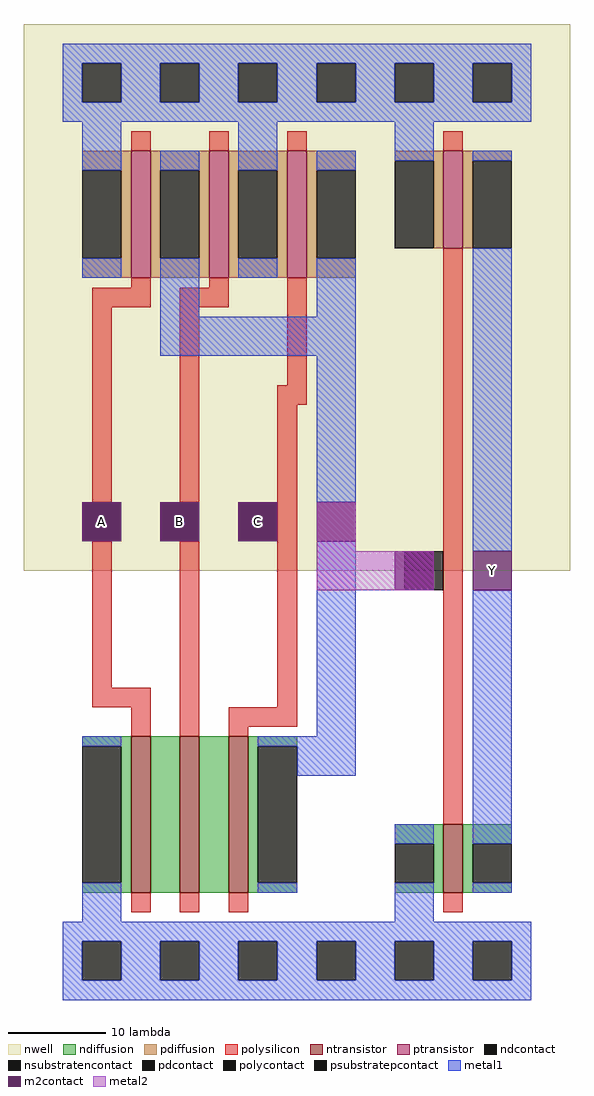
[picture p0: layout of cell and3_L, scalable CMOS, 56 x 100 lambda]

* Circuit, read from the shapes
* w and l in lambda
.subckt and3_L A B C Gnd! Vdd! Y
M1 n1 A Gnd! Gnd! nfet w=16 l=2
M2 n2 B n1 Gnd! nfet w=16 l=2
M3 nand3_L_0/Y C n2 Gnd! nfet w=16 l=2
M4 Y nand3_L_0/Y Gnd! Gnd! nfet w=7 l=2
M5 nand3_L_0/Y A Vdd! Vdd! pfet w=13 l=2
M6 Vdd! B nand3_L_0/Y Vdd! pfet w=13 l=2
M7 nand3_L_0/Y C Vdd! Vdd! pfet w=13 l=2
M8 Y nand3_L_0/Y Vdd! Vdd! pfet w=10 l=2
.ends

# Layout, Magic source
magic
tech scmos
<< metal1 >>
rect 44 0 45 2
<< m2contact >>
rect 6 47 10 51
rect 14 47 18 51
rect 22 47 26 51
rect 46 42 50 46
<< metal2 >>
rect 30 46 34 51
rect 30 42 42 46
use nand3_L  nand3_L_0
transform 1 0 6 0 1 4
box -6 -4 34 96
use inv_1x  inv_1x_0 /home/nessa
transform 1 0 38 0 1 4
box -6 -4 18 96
<< labels >>
rlabel m2contact 8 49 8 49 1 A
rlabel m2contact 16 49 16 49 1 B
rlabel m2contact 24 49 24 49 1 C
rlabel m2contact 48 44 48 44 1 Y
<< end >>

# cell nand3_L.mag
magic
tech scmos
<< nwell >>
rect -6 40 34 96
<< ntransistor >>
rect 5 7 7 23
rect 10 7 12 23
rect 15 7 17 23
<< ptransistor >>
rect 5 70 7 83
rect 13 70 15 83
rect 21 70 23 83
<< ndiffusion >>
rect 0 22 5 23
rect 4 8 5 22
rect 0 7 5 8
rect 7 7 10 23
rect 12 7 15 23
rect 17 22 22 23
rect 17 8 18 22
rect 17 7 22 8
<< pdiffusion >>
rect 0 81 5 83
rect 4 72 5 81
rect 0 70 5 72
rect 7 81 13 83
rect 7 72 8 81
rect 12 72 13 81
rect 7 70 13 72
rect 15 81 21 83
rect 15 72 16 81
rect 20 72 21 81
rect 15 70 21 72
rect 23 81 28 83
rect 23 72 24 81
rect 23 70 28 72
<< ndcontact >>
rect 0 8 4 22
rect 18 8 22 22
<< pdcontact >>
rect 0 72 4 81
rect 8 72 12 81
rect 16 72 20 81
rect 24 72 28 81
<< psubstratepcontact >>
rect 0 -2 4 2
rect 8 -2 12 2
rect 16 -2 20 2
rect 24 -2 28 2
<< nsubstratencontact >>
rect 0 88 4 92
rect 8 88 12 92
rect 16 88 20 92
rect 24 88 28 92
<< polysilicon >>
rect 5 83 7 85
rect 13 83 15 85
rect 21 83 23 85
rect 5 69 7 70
rect 13 69 15 70
rect 1 67 7 69
rect 10 67 15 69
rect 1 47 3 67
rect 10 47 12 67
rect 21 59 23 70
rect 20 57 23 59
rect 1 28 3 43
rect 1 26 7 28
rect 5 23 7 26
rect 10 23 12 43
rect 20 26 22 57
rect 15 24 22 26
rect 15 23 17 24
rect 5 5 7 7
rect 10 5 12 7
rect 15 5 17 7
<< polycontact >>
rect 0 43 4 47
rect 8 43 12 47
rect 16 43 20 47
<< metal1 >>
rect -2 92 30 94
rect -2 88 0 92
rect 4 88 8 92
rect 12 88 16 92
rect 20 88 24 92
rect 28 88 30 92
rect -2 86 30 88
rect 0 81 4 86
rect 0 70 4 72
rect 8 81 12 83
rect 8 66 12 72
rect 16 81 20 86
rect 16 70 20 72
rect 24 81 28 83
rect 24 66 28 72
rect 8 62 28 66
rect 24 47 28 62
rect 24 23 28 43
rect 0 22 4 23
rect 0 4 4 8
rect 18 22 28 23
rect 22 19 28 22
rect 18 7 22 8
rect -2 2 30 4
rect -2 -2 0 2
rect 4 -2 8 2
rect 12 -2 16 2
rect 20 -2 24 2
rect 28 -2 30 2
rect -2 -4 30 -2
<< m2contact >>
rect 0 43 4 47
rect 8 43 12 47
rect 16 43 20 47
rect 24 43 28 47
<< labels >>
rlabel metal1 -1 0 -1 0 2 Gnd!
rlabel m2contact 2 45 2 45 1 A
rlabel m2contact 10 45 10 45 1 B
rlabel m2contact 18 45 18 45 1 C
rlabel m2contact 26 45 26 45 1 Y
rlabel metal1 0 90 0 90 1 Vdd!
<< end >>

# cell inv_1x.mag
magic
tech scmos
<< nwell >>
rect -6 40 18 96
<< ntransistor >>
rect 5 7 7 14
<< ptransistor >>
rect 5 73 7 83
<< ndiffusion >>
rect 0 12 5 14
rect 4 8 5 12
rect 0 7 5 8
rect 7 12 12 14
rect 7 8 8 12
rect 7 7 12 8
<< pdiffusion >>
rect 0 82 5 83
rect 4 73 5 82
rect 7 82 12 83
rect 7 73 8 82
<< ndcontact >>
rect 0 8 4 12
rect 8 8 12 12
<< pdcontact >>
rect 0 73 4 82
rect 8 73 12 82
<< psubstratepcontact >>
rect 0 -2 4 2
rect 8 -2 12 2
<< nsubstratencontact >>
rect 0 88 4 92
rect 8 88 12 92
<< polysilicon >>
rect 5 83 7 85
rect 5 14 7 73
rect 5 5 7 7
<< polycontact >>
rect 1 38 5 42
<< metal1 >>
rect -2 92 14 94
rect -2 88 0 92
rect 4 88 8 92
rect 12 88 14 92
rect -2 86 14 88
rect 0 82 4 86
rect 8 82 12 83
rect 8 42 12 73
rect 0 12 4 14
rect 0 4 4 8
rect 8 12 12 38
rect 8 7 12 8
rect -2 2 14 4
rect -2 -2 0 2
rect 4 -2 8 2
rect 12 -2 14 2
rect -2 -4 14 -2
<< m2contact >>
rect 0 38 1 42
rect 1 38 4 42
rect 8 38 12 42
<< labels >>
rlabel m2contact 1 40 1 40 1 a
rlabel m2contact 10 40 10 40 1 y
rlabel metal1 -1 0 -1 0 3 Gnd!
rlabel metal1 -1 90 -1 90 3 Vdd!
<< end >>
